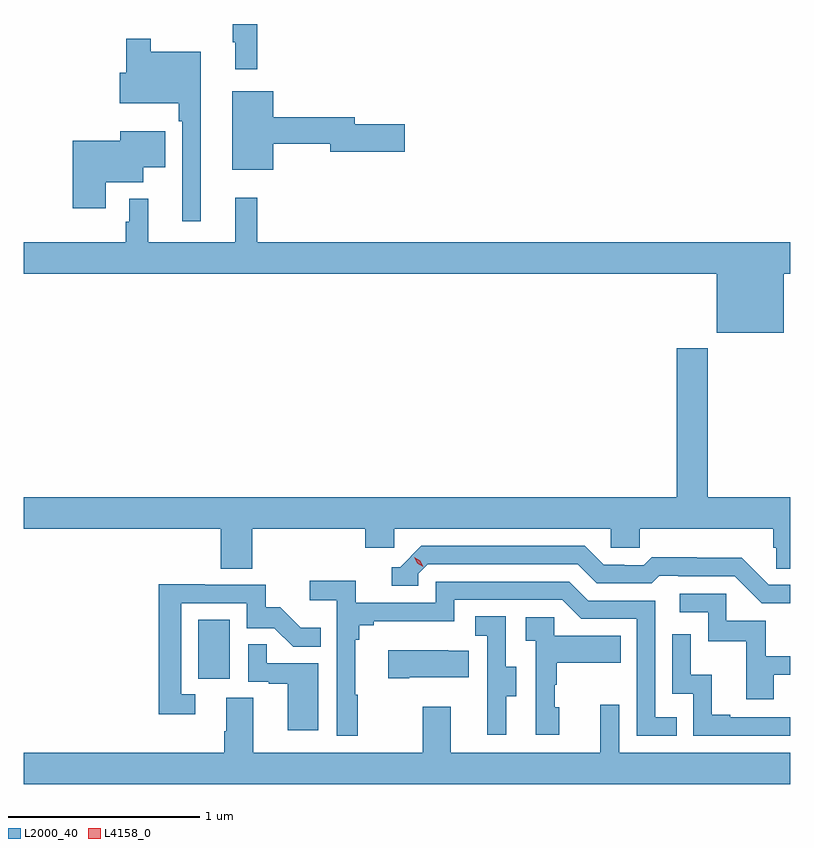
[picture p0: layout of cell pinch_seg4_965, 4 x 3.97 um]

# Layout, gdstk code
import gdstk
lib = gdstk.Library(unit=1e-6, precision=1e-09)
def R(c, l, rs):  # rectangles x0, y0, x1, y1
    for r in rs: c.add(gdstk.rectangle(r[:2], r[2:], *l))
def P(c, l, *ps):  # polygons
    for p in ps: c.add(gdstk.Polygon(p, *l))
L2000_40 = (2000, 40)
L4158_0 = (4158, 0)

pinch_seg4_965 = lib.new_cell('pinch_seg4_965')
R(pinch_seg4_965, L2000_40, [(831.32,772.062,831.484,772.369)])
P(pinch_seg4_965, L2000_40, [(831.629,775.48),(831.501,775.48),(831.501,775.385),(831.512,775.385),(831.512,775.245),(831.629,775.245)],
  [(831.334,775.336),(831.073,775.336),(831.073,775.402),(830.944,775.402),(830.944,775.225),(830.91,775.225),(830.91,775.067),(831.217,775.067),(831.217,774.971),(831.237,774.971),(831.237,774.45),(831.334,774.45)],
  [(831.712,774.856),(832.01,774.856),(832.01,774.814),(832.399,774.814),(832.399,774.956),(832.138,774.956),(832.138,774.992),(831.712,774.992),(831.712,775.129),(831.497,775.129),(831.497,774.719),(831.712,774.719)],
  [(830.836,774.653),(831.034,774.653),(831.034,774.731),(831.148,774.731),(831.148,774.919),(830.912,774.919),(830.912,774.871),(830.666,774.871),(830.666,774.519),(830.836,774.519)],
  [(834.376,774.176),(834.41,774.176),(834.41,774.34),(831.629,774.34),(831.629,774.574),(831.512,774.574),(831.512,774.34),(831.059,774.34),(831.059,774.568),(830.961,774.568),(830.961,774.447),(830.941,774.447),(830.941,774.34),(830.41,774.34),(830.41,774.176),(834.026,774.176),(834.026,773.867),(834.376,773.867)],
  [(831.602,772.844),(832.193,772.844),(832.193,772.746),(832.344,772.746),(832.344,772.844),(833.475,772.844),(833.475,772.746),(833.625,772.746),(833.625,772.844),(834.323,772.844),(834.323,772.746),(834.337,772.746),(834.337,772.636),(834.41,772.636),(834.41,773.008),(833.979,773.008),(833.979,773.788),(833.819,773.788),(833.819,773.008),(830.41,773.008),(830.41,772.844),(831.437,772.844),(831.437,772.636),(831.602,772.636)],
  [(834.41,772.551),(834.3,772.551),(834.158,772.693),(833.922,772.693),(833.922,772.696),(833.689,772.696),(833.647,772.653),(833.544,772.653),(833.544,772.656),(833.437,772.656),(833.338,772.755),(832.485,772.755),(832.374,772.644),(832.331,772.644),(832.331,772.548),(832.47,772.548),(832.47,772.611),(832.518,772.659),(833.301,772.659),(833.4,772.56),(833.689,772.56),(833.728,772.599),(833.827,772.599),(833.827,772.596),(834.12,772.596),(834.261,772.455),(834.41,772.455)],
  [(832.153,771.977),(832.141,771.977),(832.141,772.265),(832.16,772.265),(832.16,772.342),(832.237,772.342),(832.237,772.361),(832.656,772.361),(832.656,772.473),(833.22,772.473),(833.319,772.374),(833.61,772.374),(833.61,771.765),(833.819,771.765),(833.819,771.861),(833.706,771.861),(833.706,772.47),(833.356,772.47),(833.257,772.569),(832.56,772.569),(832.56,772.458),(832.142,772.458),(832.142,772.574),(831.903,772.574),(831.903,772.472),(832.044,772.472),(832.044,771.765),(832.153,771.765)],
  [(831.304,771.981),(831.231,771.981),(831.231,772.455),(831.573,772.455),(831.573,772.326),(831.717,772.326),(831.815,772.228),(831.959,772.228),(831.959,772.327),(831.855,772.327),(831.748,772.434),(831.672,772.434),(831.672,772.551),(831.353,772.551),(831.353,772.556),(831.115,772.556),(831.115,771.876),(831.304,771.876)],
  [(834.325,772.083),(834.41,772.083),(834.41,772.179),(834.283,772.179),(834.283,772.365),(834.078,772.365),(834.078,772.506),(833.835,772.506),(833.835,772.41),(833.982,772.41),(833.982,772.257),(834.181,772.257),(834.181,771.954),(834.325,771.954)],
  [(832.927,771.97),(832.981,771.97),(832.981,772.125),(832.926,772.125),(832.926,772.388),(832.767,772.388),(832.767,772.285),(832.83,772.285),(832.83,771.981),(832.829,771.981),(832.829,771.768),(832.927,771.768)],
  [(833.206,771.912),(833.181,771.912),(833.181,772.031),(833.191,772.031),(833.191,772.145),(833.525,772.145),(833.525,772.285),(833.178,772.285),(833.178,772.383),(833.031,772.383),(833.031,772.259),(833.082,772.259),(833.082,771.768),(833.206,771.768)],
  [(834.41,771.861),(834.097,771.861),(834.097,771.874),(834.002,771.874),(834.002,772.082),(833.892,772.082),(833.892,772.294),(833.796,772.294),(833.796,771.984),(833.904,771.984),(833.904,771.765),(834.41,771.765)],
  [(831.946,772.143),(831.677,772.143),(831.677,772.241),(831.582,772.241),(831.582,772.047),(831.689,772.047),(831.689,772.035),(831.788,772.035),(831.788,771.792),(831.946,771.792)],
  [(832.423,772.07),(832.733,772.07),(832.733,772.207),(832.625,772.207),(832.625,772.21),(832.311,772.21),(832.311,772.063),(832.423,772.063)],
  [(834.41,771.676),(833.517,771.676),(833.517,771.925),(833.42,771.925),(833.42,771.676),(832.639,771.676),(832.639,771.916),(832.492,771.916),(832.492,771.676),(831.607,771.676),(831.607,771.962),(831.467,771.962),(831.467,771.788),(831.455,771.788),(831.455,771.676),(830.41,771.676),(830.41,771.512),(834.41,771.512)])
P(pinch_seg4_965, L4158_0, [(832.494,772.646),(832.463,772.665),(832.447,772.697),(832.447,772.697),(832.447,772.697),(832.478,772.678),(832.495,772.646),(832.495,772.646)])

lib.write_gds('pinch_seg4_965.gds')
